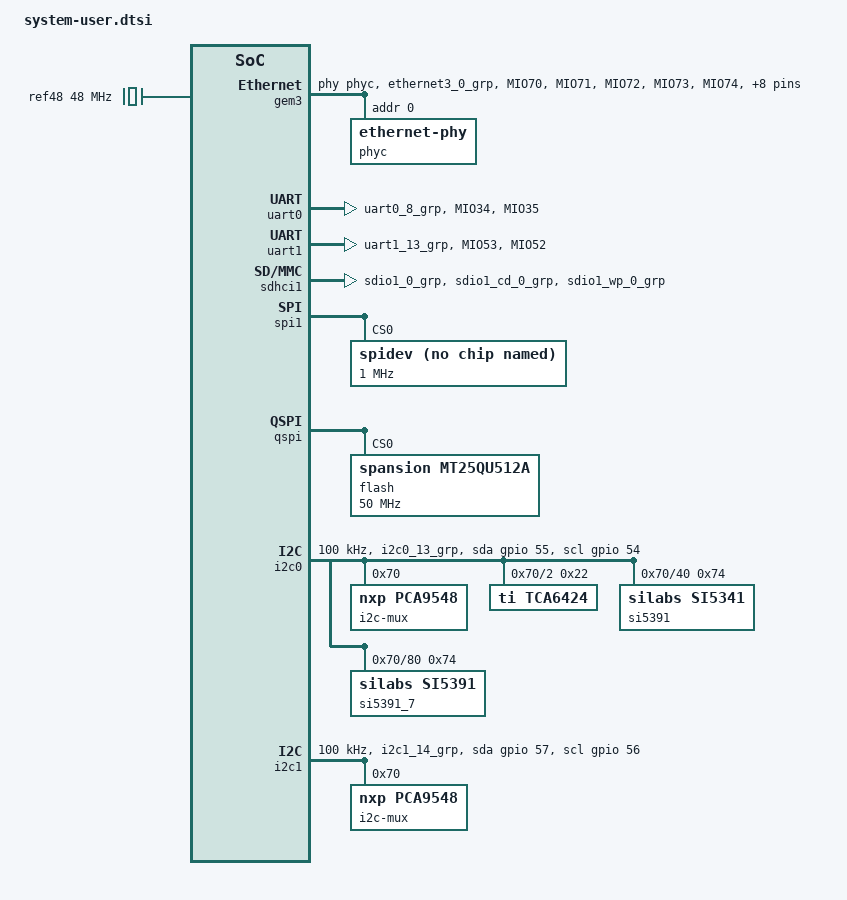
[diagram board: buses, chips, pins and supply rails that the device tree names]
#include "pinctrl-zynqmp.h"
#include "phy.h"
#include "gpio.h"
/include/ "system-conf.dtsi"
/ {
/*
  	chosen {
		bootargs = " earlycon console=ttyPS0,115200 debug clk_ignore_unused root=/dev/mtd3 rootfstype=jffs2 rw rootwait";
		stdout-path = "serial0:115200n8";
	};
*/
/*
	  reserved-memory {
		#address-cells = <2>;
		#size-cells = <2>;
		ranges;

		reserved: buffer@0 {
		  no-map;
		reg = <0x00000000 0x6f000000 0x0 0x10000000>;
				  
		};
	};
	  reserved-driver@0 {
	      compatible = "xlnx,reserved-memory";
	      memory-region = <&reserved>;
	  };
		
*/
/* 48MHz reference crystal */
ref48: ref48M {
        compatible = "fixed-clock";
        #clock-cells = <0>;
        clock-frequency = <48000000>;
};
};



&cpu_opp_table {
		opp03 {
			opp-hz = /bits/ 64 <1333333320>;
			opp-microvolt = <1000000>;
			clock-latency-ns = <500000>;
		};
};

/*
&gem3 {
        phy-handle = <&phyc>;
        pinctrl-names = "default";
        pinctrl-0 = <&pinctrl_gem3_default>;
	phyc: ethernet-phy@0 {
	  reg = <0>;
	    tx-fifo-depth = <DP83867_PHYCR_FIFO_DEPTH_4_B_NIB>;
	    rx-fifo-depth = <DP83867_PHYCR_FIFO_DEPTH_4_B_NIB>;
	    ti,max-output-impedance;
	    ti,clk-output-sel = <DP83867_CLK_O_SEL_CHN_A_RCLK>;
	    ti,rx-internal-delay = <DP83867_RGMIIDCTL_2_25_NS>;
	    ti,tx-internal-delay = <DP83867_RGMIIDCTL_2_75_NS>;
	  };
  
};
*/

/*
&gem3 {
	status = "okay";
        phy-handle = <&phy0>;
	phy-mode = "rgmii-id";
        pinctrl-names = "default";
        pinctrl-0 = <&pinctrl_gem3_default>;
        phy0: ethernet-phy@0 {
                reg = <0x0>;
                ti,rx-internal-delay = <0x8>;
                ti,tx-internal-delay = <0xa>;
                ti,fifo-depth = <0x1>;
		ti,rxctrl-strap-worka;
                ti,dp83867-rxctrl-strap-quirk;
        };
};
*/





&gem3 {
        phy-handle = <&phyc>;
        pinctrl-names = "default";
        pinctrl-0 = <&pinctrl_gem3_default>;
        phyc: ethernet-phy@0 {
                reg = <0x0>;
                ti,rx-internal-delay = <0x8>;
                ti,tx-internal-delay = <0xa>;
                ti,fifo-depth = <0x1>;
                ti,dp83867-rxctrl-strap-quirk;
        };
};


&pinctrl0 {
	status = "okay";



	pinctrl_gem3_default: gem3-default {
		mux {
			function = "ethernet3";
			groups = "ethernet3_0_grp";
		};

		conf {
			groups = "ethernet3_0_grp";
			slew-rate = <SLEW_RATE_SLOW>;
			io-standard = <IO_STANDARD_LVCMOS33>;
		};

		conf-rx {
			pins = "MIO70", "MIO71", "MIO72", "MIO73", "MIO74",
									"MIO75";
			bias-high-impedance;
			low-power-disable;
		};

		conf-tx {
			pins = "MIO64", "MIO65", "MIO66", "MIO67", "MIO68",
									"MIO69";
			bias-disable;
			low-power-enable;
		};

		mux-mdio {
			function = "mdio3";
			groups = "mdio3_0_grp";
		};

		conf-mdio {
			groups = "mdio3_0_grp";
			slew-rate = <SLEW_RATE_SLOW>;
			io-standard = <IO_STANDARD_LVCMOS33>;
			bias-disable;
		};
	};
	pinctrl_sdhci1_default: sdhci1-default {
		mux {
			groups = "sdio1_0_grp";
			function = "sdio1";
		};

		conf {
			groups = "sdio1_0_grp";
			slew-rate = <SLEW_RATE_SLOW>;
			io-standard = <IO_STANDARD_LVCMOS18>;
			bias-disable;
		};

		mux-cd {
			groups = "sdio1_cd_0_grp";
			function = "sdio1_cd";
		};

		conf-cd {
			groups = "sdio1_cd_0_grp";
			bias-high-impedance;
			bias-pull-up;
			slew-rate = <SLEW_RATE_SLOW>;
			io-standard = <IO_STANDARD_LVCMOS18>;
		};

		mux-wp {
			groups = "sdio1_wp_0_grp";
			function = "sdio1_wp";
		};

		conf-wp {
			groups = "sdio1_wp_0_grp";
			bias-high-impedance;
			bias-pull-up;
			slew-rate = <SLEW_RATE_SLOW>;
			io-standard = <IO_STANDARD_LVCMOS18>;
		};
	};
	pinctrl_i2c0_default: i2c0-default {
		mux {
			groups = "i2c0_13_grp";
			function = "i2c0";
		};

		conf {
			groups = "i2c0_13_grp";
			bias-pull-up;
			slew-rate = <SLEW_RATE_SLOW>;
			io-standard = <IO_STANDARD_LVCMOS18>;
		};
	};

	pinctrl_i2c0_gpio: i2c0-gpio {
		mux {
			groups = "gpio0_54_grp";
			function = "gpio0";
		};

		conf {
			groups = "gpio0_54_grp";
			slew-rate = <SLEW_RATE_SLOW>;
			io-standard = <IO_STANDARD_LVCMOS18>;
		};
	};
    pinctrl_i2c1_default: i2c1-default {
        mux {
            groups = "i2c1_14_grp";
            function = "i2c1";
        };

        conf {
            groups = "i2c1_14_grp";
            bias-pull-up;
            slew-rate = <SLEW_RATE_SLOW>;
            io-standard = <IO_STANDARD_LVCMOS18>;
        };
    };

    pinctrl_i2c1_gpio: i2c1-gpio {
        mux {
            groups = "gpio0_56_grp";
            function = "gpio0";
        };

        conf {
            groups = "gpio0_56_grp";
            slew-rate = <SLEW_RATE_SLOW>;
            io-standard = <IO_STANDARD_LVCMOS18>;
        };
    };

	pinctrl_uart0_default: uart0-default {
		mux {
			groups = "uart0_8_grp";
			function = "uart0";
		};

		conf {
			groups = "uart0_8_grp";
			slew-rate = <SLEW_RATE_SLOW>;
			io-standard = <IO_STANDARD_LVCMOS18>;
			drive-strength = <12>;
		};

		conf-rx {
			pins = "MIO34";
			bias-high-impedance;
		};

		conf-tx {
			pins = "MIO35";
			bias-disable;
		};
	};

	pinctrl_uart1_default: uart1-default {
		mux {
			groups = "uart1_13_grp";
			function = "uart1";
		};

		conf {
			groups = "uart1_13_grp";
			slew-rate = <SLEW_RATE_SLOW>;
			io-standard = <IO_STANDARD_LVCMOS33>;
			drive-strength = <12>;
			
			
		};

		conf-rx {
			pins = "MIO53";
			bias-high-impedance;
		};

		conf-tx {
			pins = "MIO52";
			bias-disable;
		};
	};


};


&uart0 {
	pinctrl-names = "default";
	pinctrl-0 = <&pinctrl_uart0_default>;
};

&uart1 {
	pinctrl-names = "default";
	pinctrl-0 = <&pinctrl_uart1_default>;
};


/* SD1 with level shifter */
&sdhci1 {
        pinctrl-names = "default";
        pinctrl-0 = <&pinctrl_sdhci1_default>;
        /*
         * 1.0 revision has level shifter and this property should be
         * removed for supporting UHS mode
         */
	status = "okay";
	xlnx,has-cd = <0x1>;
	xlnx,has-power = <0x0>;
	xlnx,has-wp = <0x1>;
	disable-wp;
	no-1-8-v;
};

&spi1 {
	is-decoded-cs = <0>;
	num-cs = <1>;
	status = "okay";
	spidev@0x00 {
		compatible = "linux,spidev";
		spi-max-frequency = <1000000>;
		reg = <0>;
	};
};

&qspi {
	status = "okay";
	is-dual = <1>;
	num-cs = <1>;

	flash@0 {
	compatible = "spansion,mt25qu512a", "jedec,spi-nor";
	reg = <0>;
	spi-max-frequency = <50000000>;
	spi-tx-bus-width = <1>;
	spi-rx-bus-width = <4>;
	m25p,fast-read;

	#address-cells = <1>;
	#size-cells = <1>;
   };
};


&i2c0 {
	pinctrl-names = "default", "gpio";
	pinctrl-0 = <&pinctrl_i2c0_default>;
	pinctrl-1 = <&pinctrl_i2c0_gpio>;
	scl-gpios = <&gpio 54 GPIO_ACTIVE_HIGH>;
	sda-gpios = <&gpio 55 GPIO_ACTIVE_HIGH>;
	clock-frequency = <100000>;

	i2c-mux@70 { /* u60 */
          compatible = "nxp,pca9548";
          #address-cells = <1>;
          #size-cells = <0>;
          reg = <0x70>;
    
    i2c@2 {
        #address-cells = <1>;
        #size-cells = <0>;
        reg = <2>;
        	tca6424@22 {
        		compatible = "ti, tca6424";
        		reg = <0x22>;
        		gpio-controller;
        		#gpio-cells = <2>;
        	};
   	};

	i2c@40 { /* i2c mw e1 0 1 */
		#address-cells = <1>;
		#size-cells = <0>;
		reg = <40>;        
	si5391:clock-generator@74 {
		reg = <0x74>;
		compatible = "silabs,si5341";
		#clock-cells = <2>;
		#address-cells = <1>;
		#size-cells = <0>;
		clocks = <&ref48>;
		clock-names = "xtal";
		clock-output-names = "si5341";
		silabs,pll-m-num = <14000>; /* PLL at 14.0 GHz */
		silabs,pll-m-den = <48>;
	};
   };
    i2c@80 { /* i2c mw e1 0 1 */
        #address-cells = <1>;
        #size-cells = <0>;
        reg = <80>;
    si5391_7:clock-generator@74 {
        reg = <0x74>;
        compatible = "silabs,si5391";
        #clock-cells = <2>;
        #address-cells = <1>;
        #size-cells = <0>;
        clocks = <&ref48>;
        clock-names = "xtal";
        clock-output-names = "si5391_7";
        silabs,pll-m-num = <14000>; /* PLL at 14.0 GHz */
        silabs,pll-m-den = <48>;
    };
   };
  };
};

&i2c1 {
    pinctrl-names = "default", "gpio";
    pinctrl-0 = <&pinctrl_i2c1_default>;
    pinctrl-1 = <&pinctrl_i2c1_gpio>;
    scl-gpios = <&gpio 56 GPIO_ACTIVE_HIGH>;
    sda-gpios = <&gpio 57 GPIO_ACTIVE_HIGH>;
    clock-frequency = <100000>;

    i2c-mux@70 { 
          compatible = "nxp,pca9548";
          #address-cells = <1>;
          #size-cells = <0>;
          reg = <0x70>;
    };
};



